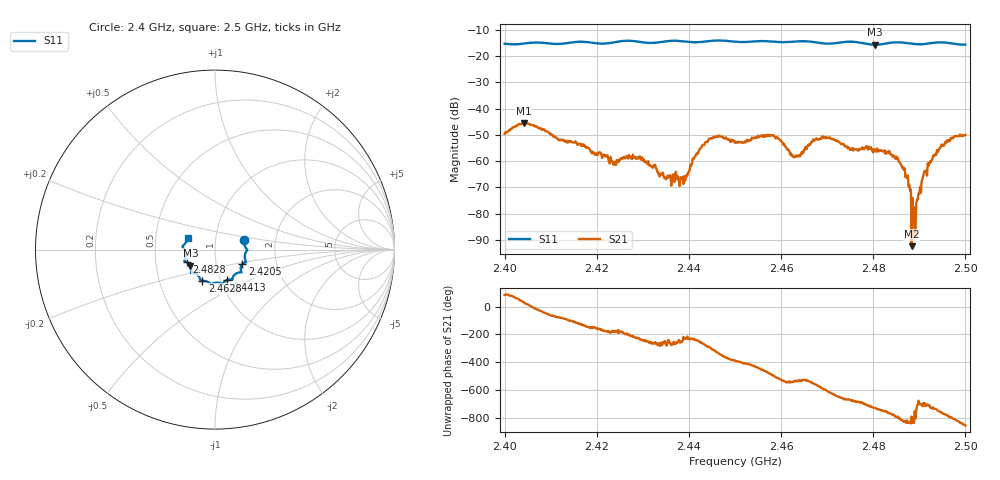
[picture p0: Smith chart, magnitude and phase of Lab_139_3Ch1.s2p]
# Hz S RI R 50
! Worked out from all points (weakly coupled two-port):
!   601 points, 2.4 GHz to 2.5 GHz, reference 50 ohm
!   highest |S21| = -45.56 dB at 2.4042 GHz (marker M1); lowest = -92.3 dB at 2.4883 GHz (marker M2)
!   lowest |S11| = -15.7 dB at 2.4803 GHz (marker M3), VSWR 1.39, Z = 37.4 - j6.83 ohm
!   |S11| at or under -10 dB: start of sweep to end of sweep
!   S12 and S22 are empty: the file has one direction only
!   S11 on the Smith chart (normalised r, x): 2.4 GHz: 1.38, +0.15; 2.4205 GHz: 1.34, -0.22; 2.4413 GHz: 1.08, -0.38; 2.4628 GHz: 0.82, -0.29; 2.4828 GHz: 0.72, -0.10; 2.5 GHz: 0.73, +0.10
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2.4e9  0.1631 0.0525  0.000372 0.00328  0 0  0 0
2.404167e9  0.1722 0.00857  0.00455 0.00265  0 0  0 0
2.416667e9  0.1735 -0.0697  -0.00113 -0.00157  0 0  0 0
2.4205e9  0.1521 -0.081  -0.00139 -0.000521  0 0  0 0
2.429333e9  0.135 -0.1272  -0.000711 0.00101  0 0  0 0
2.433333e9  0.1003 -0.1513  -5.56e-06 0.000612  0 0  0 0
2.438333e9  0.0928 -0.1678  -0.000167 0.000444  0 0  0 0
2.441333e9  0.0677 -0.1695  -0.000585 0.00109  0 0  0 0
2.445e9  0.0437 -0.1899  0.00154 0.00221  0 0  0 0
2.45e9  0.0245 -0.1856  0.00212 -0.0011  0 0  0 0
2.458e9  -0.0306 -0.1855  -0.00194 -0.00244  0 0  0 0
2.462833e9  -0.0711 -0.1736  -0.00118 5.53e-06  0 0  0 0
2.466667e9  -0.0815 -0.1673  -0.00227 0.000316  0 0  0 0
2.480333e9  -0.1372 -0.0889  0.00165 -0.000229  0 0  0 0
2.482833e9  -0.1585 -0.0702  0.00126 -0.000848  0 0  0 0
2.483333e9  -0.1625 -0.0683  0.00113 -0.00104  0 0  0 0
2.486333e9  -0.17 -0.0602  -8.67e-05 -0.000734  0 0  0 0
2.488333e9  -0.1654 -0.0436  8.44e-06 -2.26e-05  0 0  0 0
2.489167e9  -0.1642 -0.0334  6.05e-06 -4.78e-05  0 0  0 0
2.491e9  -0.1681 -0.00934  0.00059 7.66e-05  0 0  0 0
2.494333e9  -0.181 0.0163  0.00143 -0.000975  0 0  0 0
2.5e9  -0.1521 0.0639  -0.00216 -0.0023  0 0  0 0
